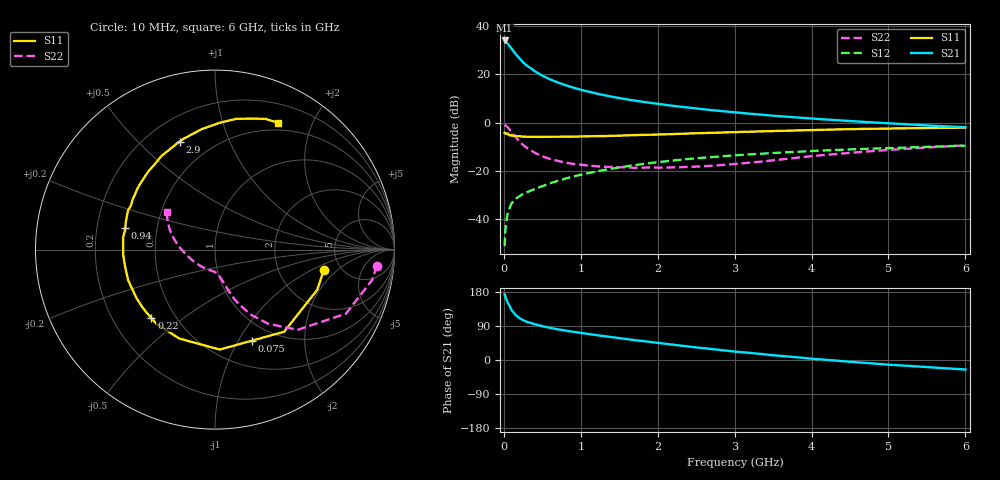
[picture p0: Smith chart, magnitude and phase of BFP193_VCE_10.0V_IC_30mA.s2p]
! Infineon Technologies  Discrete & RF Semiconductors
! BFP193
! VCE = 10.0V,  IC =  30 mA
! Common Emitter S-Parameters:  Jan 2016
# GHz  S  MA  R  50
!  f  S11  S21  S12  S22
! GHz  MAG  ANG  MAG  ANG  MAG  ANG  MAG  ANG
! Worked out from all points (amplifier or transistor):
!   210 points, 10 MHz to 6 GHz, reference 50 ohm
!   highest |S21| = 34.0 dB at 10 MHz (marker M1)
!   |S21| within 3 dB of that: start of sweep to 90.73 MHz
!   unconditionally stable (mu >= 1): 751.7 MHz to 4.032 GHz
!   at 185 MHz: K = 0.54, MSG = 29.0 dB, |S12| = -30.8 dB
!   at 1.52 GHz: K = 1.06, MAG = 12.7 dB, |S12| = -18.4 dB
!   at 6 GHz: K = 0.94, MSG = 3.8 dB, |S12| = -9.5 dB
!   S11 on the Smith chart (normalised r, x): 10 MHz: 3.67, -1.37; 75 MHz: 0.79, -1.14; 220 MHz: 0.37, -0.39; 940 MHz: 0.32, +0.11; 2.9 GHz: 0.33, +0.67; 6 GHz: 0.41, +1.54
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0.01  0.6168 -10.8  50.31 173.5  0.0028 69.2  0.9078 -5.7
0.02  0.6121 -21.5  48.25 166.6  0.0059 73.2  0.8906 -11.1
0.05  0.5982 -49.9  43.56 150.9  0.0131 67.3  0.8121 -26.1
0.075  0.5474 -67.9  38.36 142.5  0.0172 61.5  0.7182 -34.0
0.1  0.5576 -87.3  34.24 131.7  0.0215 57.9  0.6419 -44.1
0.15  0.534 -111.8  26.61 119.0  0.0265 53.0  0.5069 -54.5
0.2  0.527 -128.2  21.56 110.8  0.03 51.5  0.4145 -61.1
0.22  0.5206 -132.9  20.03 108.7  0.0315 51.4  0.3869 -62.6
0.26  0.5163 -141.7  17.26 104.1  0.0343 51.6  0.3372 -65.8
0.3  0.5143 -148.1  15.15 100.6  0.0365 52.9  0.3023 -68.3
0.4  0.5131 -160.6  11.67 94.4  0.0424 54.7  0.2396 -71.9
0.5  0.5098 -169.5  9.392 89.2  0.0487 56.2  0.2016 -74.4
0.7  0.5127 177.5  6.811 80.9  0.0628 58.7  0.1619 -78.8
0.94  0.5153 166.2  5.113 73.3  0.0799 58.8  0.1381 -83.0
1.02  0.52 162.6  4.723 70.8  0.0853 58.6  0.1338 -84.8
1.4  0.5369 148.7  3.457 60.4  0.112 56.2  0.1218 -94.6
2.02  0.573 130.0  2.425 44.7  0.1542 49.8  0.1178 -115.9
2.9  0.633 108.2  1.701 24.5  0.2064 39.4  0.1359 -151.7
3.1  0.646 104.2  1.589 20.5  0.2167 36.9  0.1444 -159.0
4.1  0.7119 86.5  1.192 2.0  0.2645 25.5  0.2106 172.4
5.1  0.7619 73.4  0.954 -13.5  0.303 14.8  0.2805 154.9
6  0.7889 63.5  0.808 -25.1  0.3364 5.5  0.34 142.4
